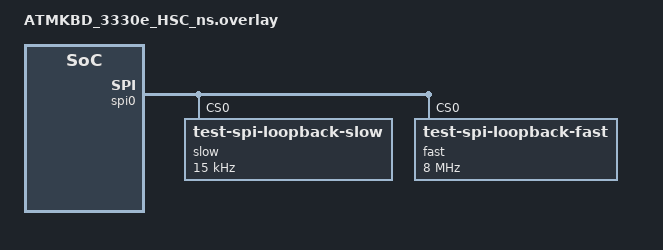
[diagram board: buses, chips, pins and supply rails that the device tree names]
&spi0 {
	status = "okay";
	slow@0 {
		compatible = "test-spi-loopback-slow";
		reg = <0>;
		spi-max-frequency = <15000>;
	};
	fast@0 {
		compatible = "test-spi-loopback-fast";
		reg = <0>;
		spi-max-frequency = <8000000>;
	};
};
